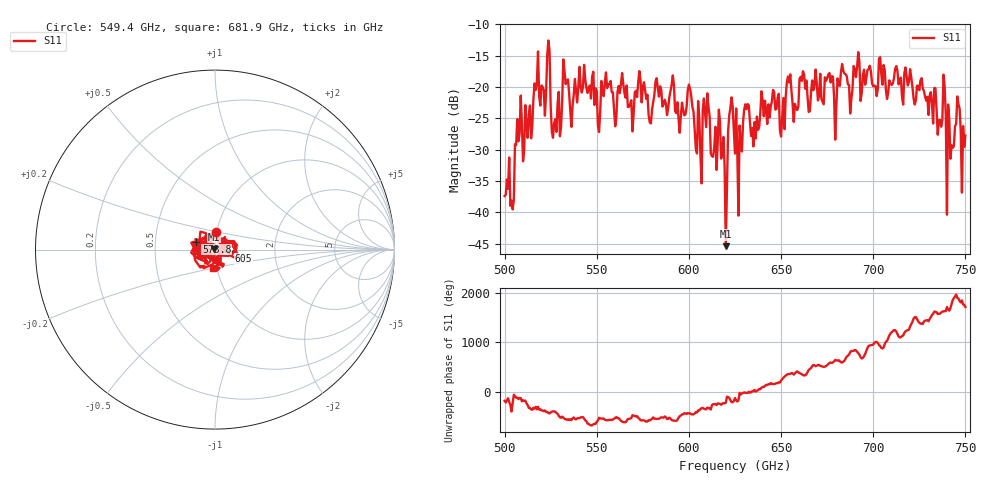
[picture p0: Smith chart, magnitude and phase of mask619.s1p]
!Created with skrf (http://scikit-rf.org).
# GHz S MA R 50.0
!freq magS11 angS11
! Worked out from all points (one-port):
!   401 points, 500 GHz to 750 GHz, reference 50 ohm
!   lowest |S11| = -45.4 dB at 620 GHz (marker M1), VSWR 1.01, Z = 49.6 + j0.291 ohm
!   |S11| at or under -10 dB: start of sweep to end of sweep
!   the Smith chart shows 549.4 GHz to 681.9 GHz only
!   S11 on the Smith chart (normalised r, x): 549.4 GHz: 1.00, +0.20; 573.8 GHz: 0.81, +0.07; 605 GHz: 1.17, -0.02; 681.9 GHz: 0.96, -0.20
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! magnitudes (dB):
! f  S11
! 500 GHz  -37.4
! 504.4 GHz  -39.5
! 507.5 GHz  -28.7
! 516.9 GHz  -20.5
! 523.8 GHz  -12.6
! 526.9 GHz  -25.8
! 531.2 GHz  -22.1
! 549.4 GHz  -20.2
! 562.5 GHz  -21.0
! 573.8 GHz  -19.0
! 593.8 GHz  -22.4
! 600.6 GHz  -20.3
! 605 GHz  -22.3
! 609.4 GHz  -26.4
! 620 GHz  -45.4
! 622.5 GHz  -23.4
! 625 GHz  -30.6
! 627.5 GHz  -26.2
! 631.2 GHz  -23.6
! 635 GHz  -29.5
! 656.2 GHz  -22.7
! 681.9 GHz  -19.8
! 687.5 GHz  -24.2
! 718.8 GHz  -19.8
! 738.1 GHz  -18.0
! 741.2 GHz  -25.1
! 745.6 GHz  -21.5
! 750 GHz  -27.8
